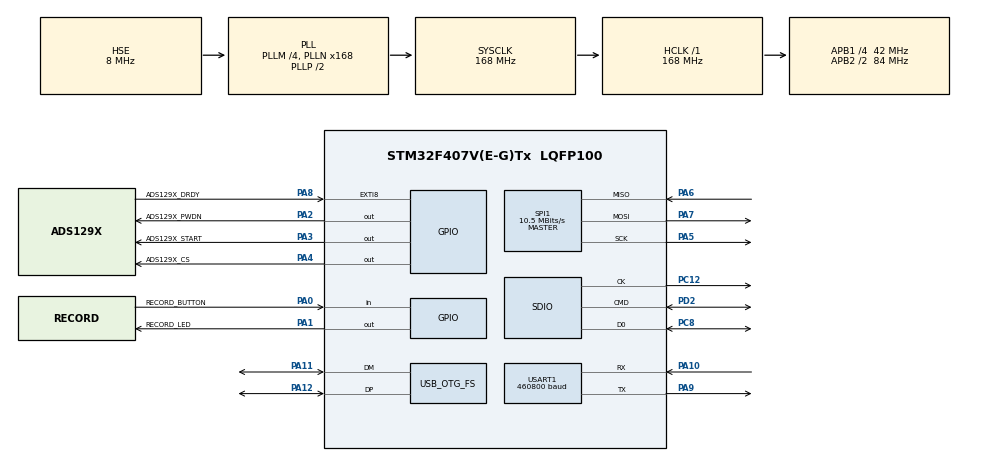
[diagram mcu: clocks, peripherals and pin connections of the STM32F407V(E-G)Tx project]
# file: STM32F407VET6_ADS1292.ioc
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Dma.Request0=USART1_RX
Dma.Request1=USART1_TX
Dma.USART1_RX.0.Direction=DMA_PERIPH_TO_MEMORY
Dma.USART1_RX.0.FIFOMode=DMA_FIFOMODE_DISABLE
Dma.USART1_RX.0.Instance=DMA2_Stream2
Dma.USART1_RX.0.MemDataAlignment=DMA_MDATAALIGN_BYTE
Dma.USART1_RX.0.MemInc=DMA_MINC_ENABLE
Dma.USART1_RX.0.Mode=DMA_NORMAL
Dma.USART1_RX.0.PeriphDataAlignment=DMA_PDATAALIGN_BYTE
Dma.USART1_RX.0.PeriphInc=DMA_PINC_DISABLE
Dma.USART1_RX.0.Priority=DMA_PRIORITY_LOW
Dma.USART1_TX.1.Direction=DMA_MEMORY_TO_PERIPH
Dma.USART1_TX.1.FIFOMode=DMA_FIFOMODE_DISABLE
Dma.USART1_TX.1.Instance=DMA2_Stream7
Dma.USART1_TX.1.MemDataAlignment=DMA_MDATAALIGN_BYTE
Dma.USART1_TX.1.MemInc=DMA_MINC_ENABLE
Dma.USART1_TX.1.Mode=DMA_NORMAL
Dma.USART1_TX.1.PeriphDataAlignment=DMA_PDATAALIGN_BYTE
Dma.USART1_TX.1.PeriphInc=DMA_PINC_DISABLE
Dma.USART1_TX.1.Priority=DMA_PRIORITY_LOW
Mcu.Family=STM32F4
Mcu.Name=STM32F407V(E-G)Tx
Mcu.Package=LQFP100
NVIC.DMA2_Stream2_IRQn=true\:2\:0\:false\:false\:true\:false\:true\:true
NVIC.DMA2_Stream7_IRQn=true\:2\:0\:false\:false\:true\:false\:true\:true
NVIC.EXTI9_5_IRQn=true\:1\:0\:false\:false\:true\:true\:true\:true
NVIC.OTG_FS_IRQn=true\:2\:0\:false\:false\:true\:false\:true\:true
NVIC.PriorityGroup=NVIC_PRIORITYGROUP_4
NVIC.USART1_IRQn=true\:2\:0\:false\:false\:true\:true\:true\:true
PA0-WKUP.GPIO_Label=RECORD_BUTTON
PA0-WKUP.GPIO_PuPd=GPIO_PULLDOWN
PA0-WKUP.Signal=GPIO_Input
PA1.GPIO_Label=RECORD_LED
PA1.PinState=GPIO_PIN_SET
PA1.Signal=GPIO_Output
PA10.Mode=Asynchronous
PA10.Signal=USART1_RX
PA11.Mode=Host_Only
PA11.Signal=USB_OTG_FS_DM
PA12.Mode=Host_Only
PA12.Signal=USB_OTG_FS_DP
PA13.Mode=Serial_Wire
PA13.Signal=SYS_JTMS-SWDIO
PA14.Mode=Serial_Wire
PA14.Signal=SYS_JTCK-SWCLK
PA2.GPIO_Label=ADS129X_PWDN
PA2.Signal=GPIO_Output
PA3.GPIO_Label=ADS129X_START
PA3.Signal=GPIO_Output
PA4.GPIO_Label=ADS129X_CS
PA4.Signal=GPIO_Output
PA5.Mode=Full_Duplex_Master
PA5.Signal=SPI1_SCK
PA6.Mode=Full_Duplex_Master
PA6.Signal=SPI1_MISO
PA7.Mode=Full_Duplex_Master
PA7.Signal=SPI1_MOSI
PA8.GPIO_Label=ADS129X_DRDY
PA8.GPIO_ModeDefaultEXTI=GPIO_MODE_IT_FALLING
PA8.Signal=GPXTI8
PA9.Mode=Asynchronous
PA9.Signal=USART1_TX
PC12.Mode=SD_1_bit
PC12.Signal=SDIO_CK
PC8.GPIO_PuPd=GPIO_PULLUP
PC8.Mode=SD_1_bit
PC8.Signal=SDIO_D0
PD2.GPIO_PuPd=GPIO_PULLUP
PD2.Mode=SD_1_bit
PD2.Signal=SDIO_CMD
PH0-OSC_IN.Mode=HSE-External-Oscillator
PH0-OSC_IN.Signal=RCC_OSC_IN
PH1-OSC_OUT.Mode=HSE-External-Oscillator
PH1-OSC_OUT.Signal=RCC_OSC_OUT
ProjectManager.HeapSize=0x200
ProjectManager.StackSize=0x1000
ProjectManager.TargetToolchain=MDK-ARM V5.32
RCC.48MHZClocksFreq_Value=48000000
RCC.AHBFreq_Value=168000000
RCC.APB1CLKDivider=RCC_HCLK_DIV4
RCC.APB1Freq_Value=42000000
RCC.APB1TimFreq_Value=84000000
RCC.APB2CLKDivider=RCC_HCLK_DIV2
RCC.APB2Freq_Value=84000000
RCC.APB2TimFreq_Value=168000000
RCC.CortexFreq_Value=168000000
RCC.HCLKFreq_Value=168000000
RCC.HSE_VALUE=8000000
RCC.HSI_VALUE=16000000
RCC.LSE_VALUE=32768
RCC.PLLM=4
RCC.PLLN=168
RCC.PLLQ=7
RCC.PLLSourceVirtual=RCC_PLLSOURCE_HSE
RCC.SYSCLKFreq_VALUE=168000000
RCC.SYSCLKSource=RCC_SYSCLKSOURCE_PLLCLK
RCC.VCOOutputFreq_Value=336000000
SDIO.ClockDiv=10
SPI1.CLKPhase=SPI_PHASE_2EDGE
SPI1.BaudRatePrescaler=SPI_BAUDRATEPRESCALER_8
SPI1.CalculateBaudRate=10.5 MBits/s
SPI1.Direction=SPI_DIRECTION_2LINES
SPI1.Mode=SPI_MODE_MASTER
SPI1.VirtualType=VM_MASTER
USART1.BaudRate=460800
USART1.VirtualMode=VM_ASYNC
USB_HOST.USBH_HandleTypeDef-CDC_FS=hUsbHostFS
USB_HOST.VirtualModeFS=Cdc
USB_OTG_FS.VirtualMode=Host_Only
USB_OTG_FS.phy_itface=HCD_PHY_EMBEDDED
VP_USB_HOST_VS_USB_HOST_CDC_FS.Mode=CDC_FS
board=custom

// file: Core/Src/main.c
/* USER CODE BEGIN Header */
/**
  ******************************************************************************
  * @file           : main.c
  * @brief          : Main program body
  ******************************************************************************
  * @attention
  *
  * Copyright (c) 2026 STMicroelectronics.
  * All rights reserved.
  *
  * This software is licensed under terms that can be found in the LICENSE file
  * in the root directory of this software component.
  * If no LICENSE file comes with this software, it is provided AS-IS.
  *
  ******************************************************************************
  */
/* USER CODE END Header */
#include "main.h"
#include "dma.h"
#include "sdio.h"
#include "spi.h"
#include "usart.h"
#include "gpio.h"

/* USER CODE BEGIN Includes */
#include <stdbool.h>
#include "ads1292.h"
#include "protocol.h"
#include "sd_recorder.h"
#include "imu_parser.h"
#include "imu_receiver.h"
#include "usb_host.h"

/* USER CODE END Includes */

/* USER CODE BEGIN PV */

static volatile bool acquisition_active;
static volatile uint32_t sample_sequence;
static bool ads1292_ok;

/* USER CODE END PV */

void SystemClock_Config(void);
/* USER CODE BEGIN PFP */

static void acquisition_update(void);
static void button_service(void);
static void led_service(void);

/* USER CODE END PFP */

/* USER CODE BEGIN 0 */

static void acquisition_update(void)
{
  bool required = ads1292_ok
               && (protocol_is_streaming() || sd_recorder_is_accepting_isr());
  if (required && !acquisition_active)
  {
    sample_sequence = 0U;
    ads1292_start();
    acquisition_active = true;
  }
  else if (!required && acquisition_active)
  {
    acquisition_active = false;
    ads1292_stop();
  }
}

void app_set_host_streaming(bool enabled)
{
  (void)enabled;
  acquisition_update();
}

bool app_apply_sample_parameters(uint16_t rate, uint8_t pga,
                                 uint8_t channel_mask, uint8_t input_mode,
                                 uint8_t rld_enabled)
{
  bool rate_ok = rate == 125U || rate == 250U || rate == 500U
              || rate == 1000U || rate == 2000U || rate == 4000U
              || rate == 8000U;
  bool pga_ok = pga == 1U || pga == 2U || pga == 3U || pga == 4U
             || pga == 6U || pga == 8U || pga == 12U;
  if (!rate_ok || !pga_ok || input_mode > 2U || (channel_mask & 0x03U) == 0U)
  {
    return false;
  }
  /* SD文件头中的采样参数必须在整个文件期间保持不变。 */
  if (sd_recorder_state() == SD_RECORDER_ACTIVE
      || sd_recorder_state() == SD_RECORDER_STOPPING)
  {
    return false;
  }

  HAL_NVIC_DisableIRQ(ADS129X_DRDY_EXTI_IRQn);
  if (acquisition_active) ads1292_stop();
  ads1292_info.rate = rate;
  ads1292_info.pga = pga;
  ads1292_info.ch_en = channel_mask & 0x03U;
  ads1292_info.ch_sw = input_mode;
  ads1292_info.rld_en = rld_enabled != 0U;
  ads1292_update_sample_parameter();
  if (acquisition_active) ads1292_start();
  HAL_NVIC_EnableIRQ(ADS129X_DRDY_EXTI_IRQn);
  sd_recorder_init(rate, pga, channel_mask, rld_enabled);
  return true;
}

static void button_service(void)
{
  static GPIO_PinState previous_raw = GPIO_PIN_RESET;
  static GPIO_PinState stable_state = GPIO_PIN_RESET;
  static uint32_t changed_at;
  GPIO_PinState raw = HAL_GPIO_ReadPin(RECORD_BUTTON_GPIO_Port, RECORD_BUTTON_Pin);
  uint32_t now = HAL_GetTick();
  if (raw != previous_raw)
  {
    previous_raw = raw;
    changed_at = now;
  }
  if (raw != stable_state && (now - changed_at) >= 30U)
  {
    stable_state = raw;
    if (stable_state == GPIO_PIN_SET)
    {
      if (sd_recorder_state() == SD_RECORDER_ACTIVE)
      {
        sd_recorder_stop();
      }
      else if (sd_recorder_state() == SD_RECORDER_IDLE
               || sd_recorder_state() == SD_RECORDER_ERROR)
      {
        sd_recorder_init(ads1292_info.rate, ads1292_info.pga,
                         ads1292_info.ch_en, ads1292_info.rld_en);
        (void)sd_recorder_start();
      }
      acquisition_update();
    }
  }
}

static void led_service(void)
{
  GPIO_PinState output = GPIO_PIN_SET; /* LED低电平点亮 */
  sd_recorder_state_t state = sd_recorder_state();
  if (state == SD_RECORDER_ACTIVE || state == SD_RECORDER_STOPPING)
  {
    output = GPIO_PIN_RESET;
  }
  else if (state == SD_RECORDER_ERROR || !ads1292_ok)
  {
    output = ((HAL_GetTick() / 200U) & 1U) ? GPIO_PIN_SET : GPIO_PIN_RESET;
  }
  HAL_GPIO_WritePin(RECORD_LED_GPIO_Port, RECORD_LED_Pin, output);
}

/* USER CODE END 0 */

int main(void)
{

  /* MCU Configuration--------------------------------------------------------*/

  /* Reset of all peripherals, Initializes the Flash interface and the Systick. */
  HAL_Init();

  /* Configure the system clock */
  SystemClock_Config();

  /* Initialize all configured peripherals */
  MX_GPIO_Init();
  MX_DMA_Init();
  MX_SPI1_Init();
  MX_USART1_UART_Init();
  MX_SDIO_SD_Init();
  /* USER CODE BEGIN 2 */

  ads1292_ok = ads1292_init() != 0U;
  sd_recorder_init(ads1292_info.rate, ads1292_info.pga,
                   ads1292_info.ch_en, ads1292_info.rld_en);
  protocol_init();
  imu_receiver_init();
  MX_USB_HOST_Init();
  acquisition_active = false;

  /* USER CODE END 2 */

  /* Infinite loop */
  while (1)
  {

    /* USER CODE BEGIN 3 */
    button_service();
    sd_recorder_service(); /* SD优先，避免记录队列积压。 */
    protocol_service();
    imu_receiver_service();
    acquisition_update();
    led_service();
  }
  /* USER CODE END 3 */
}

void SystemClock_Config(void)
{
  RCC_OscInitTypeDef RCC_OscInitStruct = {0};
  RCC_ClkInitTypeDef RCC_ClkInitStruct = {0};

  /** Configure the main internal regulator output voltage
  */
  __HAL_RCC_PWR_CLK_ENABLE();
  __HAL_PWR_VOLTAGESCALING_CONFIG(PWR_REGULATOR_VOLTAGE_SCALE1);

  /** Initializes the RCC Oscillators according to the specified parameters
  * in the RCC_OscInitTypeDef structure.
  */
  RCC_OscInitStruct.OscillatorType = RCC_OSCILLATORTYPE_HSE;
  RCC_OscInitStruct.HSEState = RCC_HSE_ON;
  RCC_OscInitStruct.PLL.PLLState = RCC_PLL_ON;
  RCC_OscInitStruct.PLL.PLLSource = RCC_PLLSOURCE_HSE;
  RCC_OscInitStruct.PLL.PLLM = 4;
  RCC_OscInitStruct.PLL.PLLN = 168;
  RCC_OscInitStruct.PLL.PLLP = RCC_PLLP_DIV2;
  RCC_OscInitStruct.PLL.PLLQ = 7;
  if (HAL_RCC_OscConfig(&RCC_OscInitStruct) != HAL_OK)
  {
    Error_Handler();
  }

  /** Initializes the CPU, AHB and APB buses clocks
  */
  RCC_ClkInitStruct.ClockType = RCC_CLOCKTYPE_HCLK|RCC_CLOCKTYPE_SYSCLK
                              |RCC_CLOCKTYPE_PCLK1|RCC_CLOCKTYPE_PCLK2;
  RCC_ClkInitStruct.SYSCLKSource = RCC_SYSCLKSOURCE_PLLCLK;
  RCC_ClkInitStruct.AHBCLKDivider = RCC_SYSCLK_DIV1;
  RCC_ClkInitStruct.APB1CLKDivider = RCC_HCLK_DIV4;
  RCC_ClkInitStruct.APB2CLKDivider = RCC_HCLK_DIV2;

  if (HAL_RCC_ClockConfig(&RCC_ClkInitStruct, FLASH_LATENCY_5) != HAL_OK)
  {
    Error_Handler();
  }
}

/* USER CODE BEGIN 4 */

void HAL_GPIO_EXTI_Callback(uint16_t GPIO_Pin)
{
  if (GPIO_Pin == ADS129X_DRDY_Pin && acquisition_active)
  {
    emg_sample_t sample;
    ads1292_read_data(sample.channel);
    sample.sequence = sample_sequence++;
    sample.tick_ms = HAL_GetTick();
    (void)sd_recorder_push_isr(&sample);
    (void)protocol_push_isr(&sample);
  }
}

void imu_frame_received_callback(const imu_sample_t *sample)
{
  (void)sd_recorder_push_imu(sample);
  (void)protocol_push_imu(sample);
}

/* USER CODE END 4 */

void Error_Handler(void)
{
  __disable_irq();
  while (1)
  {
  }
}
